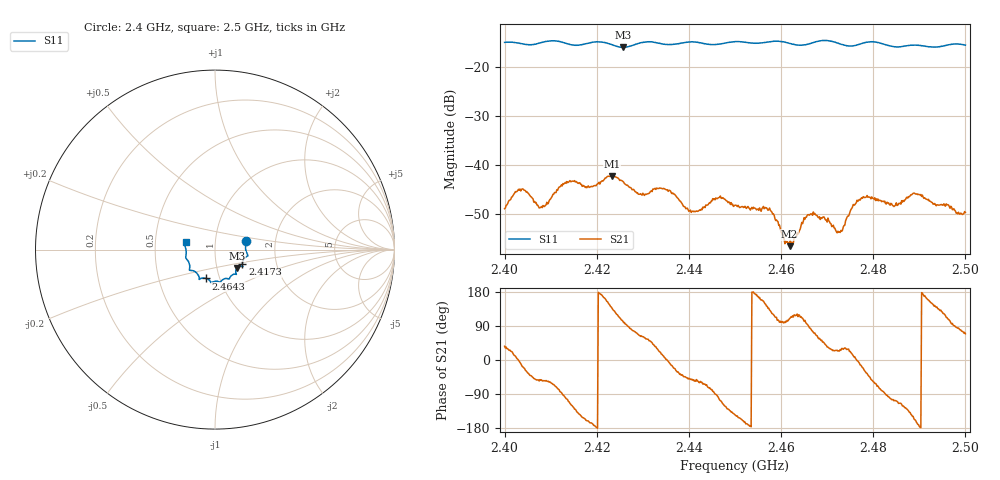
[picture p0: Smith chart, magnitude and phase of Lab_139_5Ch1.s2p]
# Hz S RI R 50
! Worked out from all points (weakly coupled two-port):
!   601 points, 2.4 GHz to 2.5 GHz, reference 50 ohm
!   highest |S21| = -42.19 dB at 2.4233 GHz (marker M1); lowest = -56.5 dB at 2.4618 GHz (marker M2)
!   lowest |S11| = -15.9 dB at 2.4257 GHz (marker M3), VSWR 1.38, Z = 62.5 - j13.1 ohm
!   |S11| at or under -10 dB: start of sweep to end of sweep
!   S12 and S22 are empty: the file has one direction only
!   S11 on the Smith chart (normalised r, x): 2.4 GHz: 1.41, +0.15; 2.4173 GHz: 1.34, -0.23; 2.4643 GHz: 0.86, -0.28; 2.5 GHz: 0.72, +0.06
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2.4e9  0.1731 0.0498  0.00291 0.00214  0 0  0 0
2.4035e9  0.1725 0.0306  0.00541 -0.000901  0 0  0 0
2.408e9  0.1782 -0.0209  0.00233 -0.00302  0 0  0 0
2.413167e9  0.1722 -0.0411  -0.000994 -0.00663  0 0  0 0
2.416667e9  0.1529 -0.0749  -0.00548 -0.00332  0 0  0 0
2.417333e9  0.1523 -0.0823  -0.00556 -0.00264  0 0  0 0
2.423333e9  0.1425 -0.0931  -0.00562 0.00537  0 0  0 0
2.425667e9  0.1228 -0.1022  -0.00147 0.0067  0 0  0 0
2.429333e9  0.1169 -0.1335  0.00219 0.00458  0 0  0 0
2.433333e9  0.1125 -0.1367  0.00521 0.00259  0 0  0 0
2.4405e9  0.0791 -0.1642  0.00205 -0.00261  0 0  0 0
2.446333e9  0.0449 -0.1663  -0.000611 -0.00462  0 0  0 0
2.45e9  0.0296 -0.181  -0.0032 -0.00227  0 0  0 0
2.457333e9  -0.0155 -0.1817  -0.00257 0.00244  0 0  0 0
2.461833e9  -0.0288 -0.1736  -0.000499 0.00141  0 0  0 0
2.464333e9  -0.0502 -0.1606  -0.000994 0.0022  0 0  0 0
2.466667e9  -0.0763 -0.16  0.00068 0.00311  0 0  0 0
2.472667e9  -0.0896 -0.1499  0.00192 0.000842  0 0  0 0
2.477333e9  -0.1296 -0.1162  0.00445 -0.00109  0 0  0 0
2.483333e9  -0.141 -0.0895  -0.00048 -0.00412  0 0  0 0
2.489167e9  -0.1626 -0.0453  -0.00476 -0.00185  0 0  0 0
2.5e9  -0.1634 0.0418  0.00117 0.0031  0 0  0 0
